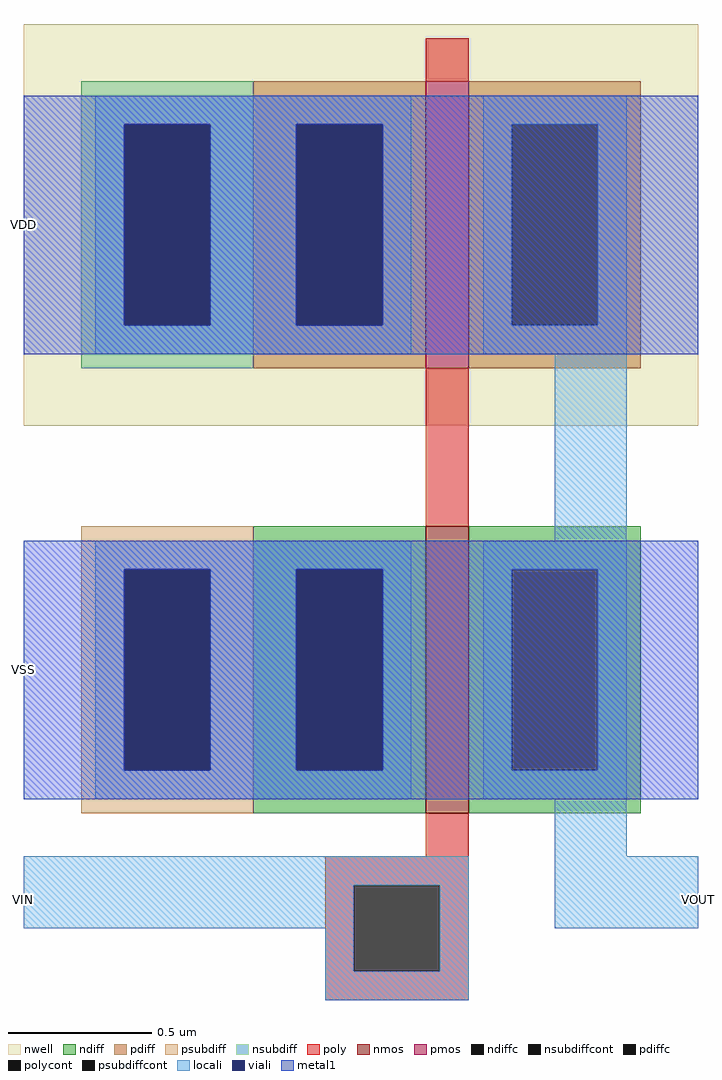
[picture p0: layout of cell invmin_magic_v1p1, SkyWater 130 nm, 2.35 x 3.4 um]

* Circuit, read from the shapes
.subckt invmin_magic_v1p1 VIN VOUT VDD VSS
XM1 VOUT VIN VSS VSS sky130_fd_pr__nfet_01v8 w=1 l=0.15
XM2 VOUT VIN VDD VDD sky130_fd_pr__pfet_01v8 w=1 l=0.15
.ends

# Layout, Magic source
magic
tech sky130A
<< nwell >>
rect -150 125 85 265
<< nmos >>
rect -10 -10 5 90
<< pmos >>
rect -10 145 5 245
<< ndiff >>
rect -70 75 -10 90
rect -70 5 -55 75
rect -25 5 -10 75
rect -70 -10 -10 5
rect 5 75 65 90
rect 5 5 20 75
rect 50 5 65 75
rect 5 -10 65 5
<< pdiff >>
rect -70 230 -10 245
rect -70 160 -55 230
rect -25 160 -10 230
rect -70 145 -10 160
rect 5 230 65 245
rect 5 160 20 230
rect 50 160 65 230
rect 5 145 65 160
<< ndiffc >>
rect -55 5 -25 75
rect 20 5 50 75
<< pdiffc >>
rect -55 160 -25 230
rect 20 160 50 230
<< psubdiff >>
rect -130 75 -70 90
rect -130 5 -115 75
rect -85 5 -70 75
rect -130 -10 -70 5
<< nsubdiff >>
rect -130 230 -70 245
rect -130 160 -115 230
rect -85 160 -70 230
rect -130 145 -70 160
<< psubdiffcont >>
rect -115 5 -85 75
<< nsubdiffcont >>
rect -115 160 -85 230
<< poly >>
rect -10 245 5 260
rect -10 90 5 145
rect -10 -25 5 -10
rect -45 -35 5 -25
rect -45 -65 -35 -35
rect -5 -65 5 -35
rect -45 -75 5 -65
<< polycont >>
rect -35 -65 -5 -35
<< locali >>
rect -125 230 -15 240
rect -125 160 -115 230
rect -85 160 -55 230
rect -25 160 -15 230
rect -125 150 -15 160
rect 10 230 60 240
rect 10 160 20 230
rect 50 160 60 230
rect 10 150 60 160
rect 35 85 60 150
rect -125 75 -15 85
rect -125 5 -115 75
rect -85 5 -55 75
rect -25 5 -15 75
rect -125 -5 -15 5
rect 10 75 60 85
rect 10 5 20 75
rect 50 5 60 75
rect 10 -5 60 5
rect 35 -25 60 -5
rect -150 -35 5 -25
rect -150 -50 -35 -35
rect -45 -65 -35 -50
rect -5 -65 5 -35
rect 35 -50 85 -25
rect -45 -75 5 -65
<< viali >>
rect -115 160 -85 230
rect -55 160 -25 230
rect -115 5 -85 75
rect -55 5 -25 75
<< metal1 >>
rect -150 230 85 240
rect -150 160 -115 230
rect -85 160 -55 230
rect -25 160 85 230
rect -150 150 85 160
rect -150 75 85 85
rect -150 5 -115 75
rect -85 5 -55 75
rect -25 5 85 75
rect -150 -5 85 5
<< labels >>
rlabel locali -150 -40 -150 -40 7 VIN
port 1 w
rlabel locali 85 -40 85 -40 3 VOUT
port 2 e
rlabel metal1 -150 195 -150 195 7 VDD
port 3 w
rlabel metal1 -150 40 -150 40 7 VSS
port 4 w
<< end >>
